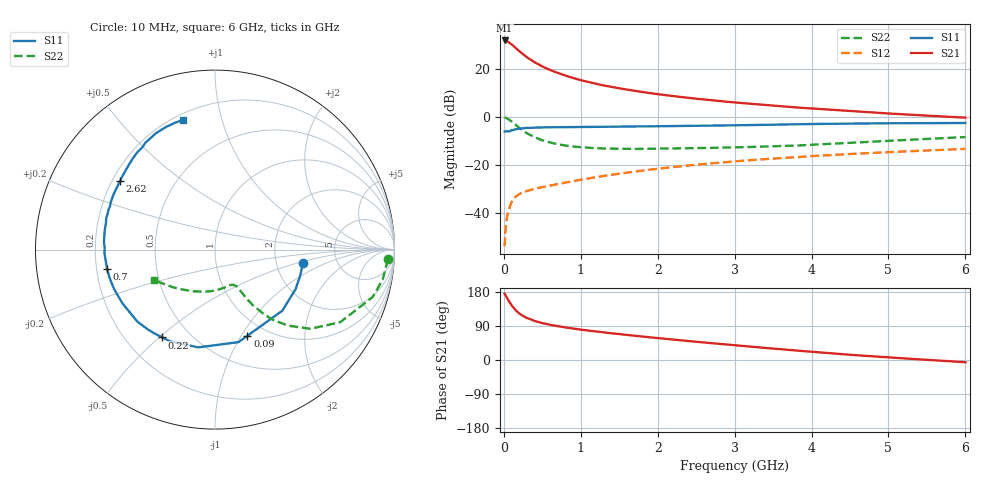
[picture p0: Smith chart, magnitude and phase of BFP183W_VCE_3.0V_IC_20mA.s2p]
! Infineon Technologies  Discrete & RF Semiconductors
! BFP183W
! VCE = 3.0 V,  IC =  20 mA
! Common Emitter S-Parameters:  Jan 2016
# GHz  S  MA  R  50
!  f  S11  S21  S12  S22
! GHz  MAG  ANG  MAG  ANG  MAG  ANG  MAG  ANG
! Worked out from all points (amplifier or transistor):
!   210 points, 10 MHz to 6 GHz, reference 50 ohm
!   highest |S21| = 31.9 dB at 10 MHz (marker M1)
!   |S21| within 3 dB of that: start of sweep to 150.6 MHz
!   unconditionally stable (mu >= 1): 920.3 MHz to 4.994 GHz
!   at 185 MHz: K = 0.35, MSG = 30.2 dB, |S12| = -32.6 dB
!   at 1.52 GHz: K = 1.13, MAG = 15.5 dB, |S12| = -23.6 dB
!   at 6 GHz: K = 0.97, MSG = 6.5 dB, |S12| = -13.4 dB
!   S11 on the Smith chart (normalised r, x): 10 MHz: 2.84, -0.56; 90 MHz: 0.82, -1.06; 220 MHz: 0.35, -0.51; 700 MHz: 0.24, -0.08; 2.62 GHz: 0.23, +0.31; 6 GHz: 0.23, +0.76
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0.01  0.4956 -8.6  39.35 175.1  0.002 84.7  0.9654 -3.2
0.03  0.5001 -26.0  38.93 168.1  0.006 84.8  0.9489 -10.2
0.05  0.5065 -42.2  37.51 160.4  0.0096 73.2  0.9176 -16.7
0.09  0.513 -69.4  33.55 147.9  0.0152 63.5  0.8249 -27.1
0.1  0.5318 -75.7  32.85 144.3  0.0166 62.1  0.8066 -30.1
0.15  0.5528 -99.7  27.91 131.7  0.0214 54.2  0.6905 -39.7
0.2  0.5695 -116.2  23.57 122.7  0.0244 50.0  0.5922 -45.8
0.22  0.5708 -121.0  22.21 120.3  0.0254 48.6  0.5613 -47.4
0.26  0.581 -130.0  19.69 115.1  0.0272 46.4  0.5037 -50.6
0.3  0.59 -137.1  17.52 110.8  0.0284 45.4  0.4555 -52.7
0.4  0.5963 -149.8  13.77 103.0  0.0314 44.6  0.3751 -55.8
0.5  0.6036 -158.5  11.28 97.3  0.0342 45.9  0.3244 -57.2
0.6  0.6078 -164.7  9.52 92.8  0.0369 47.2  0.2908 -57.8
0.7  0.6108 -170.0  8.271 89.1  0.0397 48.6  0.2684 -58.4
1.02  0.6159 178.3  5.731 79.8  0.0494 52.5  0.2314 -60.5
1.4  0.6248 168.5  4.217 70.5  0.0617 55.0  0.2174 -64.5
2.02  0.6384 155.2  2.949 57.5  0.0833 55.6  0.2166 -74.0
2.62  0.6519 144.3  2.289 45.9  0.1044 53.9  0.2242 -85.3
3.1  0.6706 136.4  1.94 37.3  0.1212 51.6  0.2327 -95.9
4.1  0.7128 121.9  1.463 20.4  0.1548 45.9  0.2655 -119.7
5.1  0.7364 111.1  1.152 5.5  0.1865 39.7  0.322 -140.5
6  0.7449 103.9  0.962 -5.9  0.2149 34.3  0.3789 -153.6
